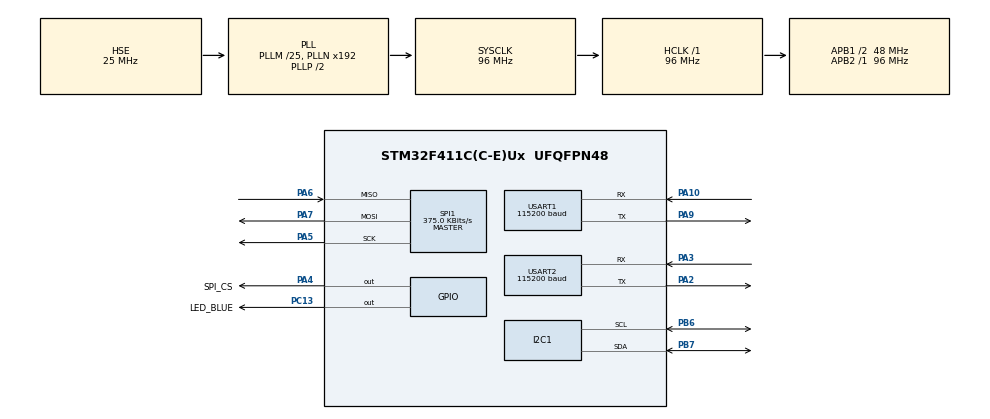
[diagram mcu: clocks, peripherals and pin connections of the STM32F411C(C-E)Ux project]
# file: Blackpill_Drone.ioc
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Dma.Request0=USART1_RX
Dma.Request1=USART2_TX
Dma.USART1_RX.0.Direction=DMA_PERIPH_TO_MEMORY
Dma.USART1_RX.0.FIFOMode=DMA_FIFOMODE_DISABLE
Dma.USART1_RX.0.Instance=DMA2_Stream2
Dma.USART1_RX.0.MemDataAlignment=DMA_MDATAALIGN_BYTE
Dma.USART1_RX.0.MemInc=DMA_MINC_ENABLE
Dma.USART1_RX.0.Mode=DMA_NORMAL
Dma.USART1_RX.0.PeriphDataAlignment=DMA_PDATAALIGN_BYTE
Dma.USART1_RX.0.PeriphInc=DMA_PINC_DISABLE
Dma.USART1_RX.0.Priority=DMA_PRIORITY_LOW
Dma.USART2_TX.1.Direction=DMA_MEMORY_TO_PERIPH
Dma.USART2_TX.1.FIFOMode=DMA_FIFOMODE_DISABLE
Dma.USART2_TX.1.Instance=DMA1_Stream6
Dma.USART2_TX.1.MemDataAlignment=DMA_MDATAALIGN_BYTE
Dma.USART2_TX.1.MemInc=DMA_MINC_ENABLE
Dma.USART2_TX.1.Mode=DMA_NORMAL
Dma.USART2_TX.1.PeriphDataAlignment=DMA_PDATAALIGN_BYTE
Dma.USART2_TX.1.PeriphInc=DMA_PINC_DISABLE
Dma.USART2_TX.1.Priority=DMA_PRIORITY_LOW
FATFS._MAX_SS=4096
FATFS._USE_LFN=1
I2C1.I2C_Mode=I2C_Fast
I2C1.OwnAddress=0
Mcu.Family=STM32F4
Mcu.Name=STM32F411C(C-E)Ux
Mcu.Package=UFQFPN48
NVIC.DMA1_Stream6_IRQn=true\:0\:0\:false\:false\:true\:false\:true\:true
NVIC.DMA2_Stream2_IRQn=true\:0\:0\:false\:false\:true\:false\:true\:true
NVIC.I2C1_ER_IRQn=true\:0\:0\:false\:false\:true\:true\:true\:true
NVIC.I2C1_EV_IRQn=true\:0\:0\:false\:false\:true\:true\:true\:true
NVIC.PriorityGroup=NVIC_PRIORITYGROUP_4
NVIC.TIM3_IRQn=true\:0\:0\:false\:false\:true\:true\:true\:true
PA10.Mode=Asynchronous
PA10.Signal=USART1_RX
PA13.Mode=Trace_Asynchronous_SW
PA13.Signal=SYS_JTMS-SWDIO
PA14.Mode=Trace_Asynchronous_SW
PA14.Signal=SYS_JTCK-SWCLK
PA2.Mode=Asynchronous
PA2.Signal=USART2_TX
PA3.Mode=Asynchronous
PA3.Signal=USART2_RX
PA4.GPIO_Label=SPI_CS
PA4.GPIO_PuPd=GPIO_PULLUP
PA4.GPIO_Speed=GPIO_SPEED_FREQ_HIGH
PA4.PinState=GPIO_PIN_SET
PA4.Signal=GPIO_Output
PA5.Mode=Full_Duplex_Master
PA5.Signal=SPI1_SCK
PA6.Mode=Full_Duplex_Master
PA6.Signal=SPI1_MISO
PA7.Mode=Full_Duplex_Master
PA7.Signal=SPI1_MOSI
PA9.Mode=Asynchronous
PA9.Signal=USART1_TX
PB3.Mode=Trace_Asynchronous_SW
PB3.Signal=SYS_JTDO-SWO
PB6.Mode=I2C
PB6.Signal=I2C1_SCL
PB7.Mode=I2C
PB7.Signal=I2C1_SDA
PC13-ANTI_TAMP.GPIO_Label=LED_BLUE
PC13-ANTI_TAMP.Signal=GPIO_Output
PH0\ -\ OSC_IN.Mode=HSE-External-Oscillator
PH0\ -\ OSC_IN.Signal=RCC_OSC_IN
PH1\ -\ OSC_OUT.Mode=HSE-External-Oscillator
PH1\ -\ OSC_OUT.Signal=RCC_OSC_OUT
ProjectManager.HeapSize=0x200
ProjectManager.StackSize=0x400
ProjectManager.TargetToolchain=STM32CubeIDE
RCC.48MHZClocksFreq_Value=48000000
RCC.AHBFreq_Value=96000000
RCC.APB1CLKDivider=RCC_HCLK_DIV2
RCC.APB1Freq_Value=48000000
RCC.APB1TimFreq_Value=96000000
RCC.APB2Freq_Value=96000000
RCC.APB2TimFreq_Value=96000000
RCC.CortexFreq_Value=96000000
RCC.HCLKFreq_Value=96000000
RCC.HSE_VALUE=25000000
RCC.HSI_VALUE=16000000
RCC.LSE_VALUE=32768
RCC.PLLM=25
RCC.PLLSourceVirtual=RCC_PLLSOURCE_HSE
RCC.SYSCLKFreq_VALUE=96000000
RCC.SYSCLKSource=RCC_SYSCLKSOURCE_PLLCLK
RCC.VCOOutputFreq_Value=192000000
SPI1.BaudRatePrescaler=SPI_BAUDRATEPRESCALER_256
SPI1.CalculateBaudRate=375.0 KBits/s
SPI1.Direction=SPI_DIRECTION_2LINES
SPI1.Mode=SPI_MODE_MASTER
SPI1.VirtualType=VM_MASTER
TIM3.Period=89
TIM3.Prescaler=8399
USART1.BaudRate=115200
USART1.Mode=MODE_RX
USART1.VirtualMode=VM_ASYNC
USART1.WordLength=WORDLENGTH_8B
USART2.BaudRate=115200
USART2.Mode=MODE_TX
USART2.VirtualMode=VM_ASYNC
VP_FATFS_VS_Generic.Mode=User_defined
VP_TIM3_VS_ClockSourceINT.Mode=Internal
board=custom

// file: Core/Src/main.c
/* USER CODE BEGIN Header */
/**
  ******************************************************************************
  * @file           : main.c
  * @brief          : Main program body
  ******************************************************************************
  * @attention
  *
  * Copyright (c) 2026 STMicroelectronics.
  * All rights reserved.
  *
  * This software is licensed under terms that can be found in the LICENSE file
  * in the root directory of this software component.
  * If no LICENSE file comes with this software, it is provided AS-IS.
  *
  ******************************************************************************
  */
/* USER CODE END Header */
#include "main.h"
#include "dma.h"
#include "fatfs.h"
#include "i2c.h"
#include "spi.h"
#include "tim.h"
#include "usart.h"
#include "gpio.h"

/* USER CODE BEGIN Includes */
#include "VL53L1X_api.h"
#include "Ibus.h"
#include <stdio.h>
#include <string.h>
/* USER CODE END Includes */

/* USER CODE BEGIN PV */

/*Sensor*/
uint8_t sense_booted = 0;
uint8_t dataReady = 0;
uint16_t distance_mm;
VL53L1X_ERROR status=1;

#define sensor_adress 0x52 // 0x29 << 1
uint16_t sensorId = 0;
uint16_t distance;

//kod do RXTX
static uint8_t tx_busy = 0;
volatile uint8_t ibus_tx_ready = 1;

//Regulator
uint32_t elapsed_ms = 0;
int32_t descent_mm = 0;
uint8_t  autoland_active = 0;
uint16_t hover_start = 1500;   // captured hover throttle
uint32_t autoland_start_time = 0;
uint16_t autoland_start_alt_mm = 0;
uint16_t desired_alt_mm = 0;
float Kp_alt = 1.f;   // proportional gain (safe starting value)
float ch5_norm = 0.f;
static uint8_t prev_autoland_switch = 0;
int32_t target = 0;
uint8_t autoland_switch = 0;
int32_t error_mm = 0;
int32_t throttle_cmd = 0;

//SD
FATFS SDFatFs;
FIL logFile;
UINT bytesWritten;
char logBuf[64];
uint8_t sd_ready = 0;
static uint32_t last_sync = 0;
FRESULT res;
static uint8_t log_div = 0;
int sd_len = 0;

/* USER CODE END PV */

void SystemClock_Config(void);

int main(void)
{

  /* MCU Configuration--------------------------------------------------------*/

  /* Reset of all peripherals, Initializes the Flash interface and the Systick. */
  HAL_Init();

  /* Configure the system clock */
  SystemClock_Config();

  /* Initialize all configured peripherals */
  MX_GPIO_Init();
  MX_DMA_Init();
  MX_I2C1_Init();
  MX_USART1_UART_Init();
  MX_TIM3_Init();
  MX_USART2_UART_Init();
  MX_SPI1_Init();
  MX_FATFS_Init();
  /* USER CODE BEGIN 2 */
  // Debug Blink
  HAL_GPIO_WritePin(LED_BLUE_GPIO_Port, LED_BLUE_Pin, GPIO_PIN_SET);
  HAL_Delay(2000);
  HAL_GPIO_WritePin(LED_BLUE_GPIO_Port, LED_BLUE_Pin, GPIO_PIN_RESET);
  HAL_Delay(2000);
  HAL_GPIO_WritePin(LED_BLUE_GPIO_Port, LED_BLUE_Pin, GPIO_PIN_SET);
  HAL_Delay(2000);
  HAL_GPIO_WritePin(LED_BLUE_GPIO_Port, LED_BLUE_Pin, GPIO_PIN_RESET);

  if (f_mount(&SDFatFs, "", 1) == FR_OK)
  {
      if (f_open(&logFile, "log.csv", FA_OPEN_ALWAYS | FA_WRITE) == FR_OK)
      {
          f_lseek(&logFile, f_size(&logFile)); // append
          sd_ready = 1;
      }
  }
  if (sd_ready && f_size(&logFile) == 0)
  {
      strcpy(logBuf, "time_ms,distance_mm\r\n");
      sd_len = strlen(logBuf);
      res = f_write(&logFile, logBuf, sd_len, &bytesWritten);
      if (res != FR_OK || bytesWritten != sd_len)
      {
          sd_ready = 0; // disable logging safely
      }
  }
  /* Kod do RX*/
  HAL_TIM_Base_Start_IT(&htim3);
  HAL_UARTEx_ReceiveToIdle_DMA(&huart1, (uint8_t*)ibus_rx_buf, IBUS_FRAME_LEN);

  /* Kod do sensora */
    while (sense_booted == 0) //Czekaj aż skończy się bootowanie sensora
    {
        status = VL53L1X_BootState(sensor_adress, &sense_booted);
        if (status != 0) {
            // Communication error - stay in loop or signal error
            HAL_GPIO_TogglePin(LED_BLUE_GPIO_Port, LED_BLUE_Pin);
            HAL_Delay(100);
            continue;
        }
        HAL_Delay(2);
    }

    if (sense_booted) {
        status = VL53L1X_SensorInit(sensor_adress);
        status |= VL53L1X_GetSensorId(sensor_adress, &sensorId); // Powinno być 0xEEAC

        status |= VL53L1X_SetDistanceMode(sensor_adress, 2);      // 1 = Short, 2 = Long
        status |= VL53L1X_SetTimingBudgetInMs(sensor_adress, 200); // 15–500 ms
        status |= VL53L1X_SetInterMeasurementInMs(sensor_adress, 400);
        status |= VL53L1X_StartRanging(sensor_adress); //Zacznij mierzyc
    }
  /* USER CODE END 2 */

  /* Infinite loop */
  while (1)
  {

    /* USER CODE BEGIN 3 */
    // 1. Process new RX frame if available
    if (ibus_rx_ready)
    {
        ibus_rx_ready = 0;
        // Data is now in ibus_ch_rx
    }

    for (int i = 0; i < IBUS_CHANNELS; i++)
            {
                ibus_ch_tx[i] = ibus_ch_rx[i];
            }

    autoland_switch = (ibus_ch_rx[6] > 1800);

    // Clamp for safety
    if (ibus_ch_rx[4] < 1000) ibus_ch_rx[4] = 1000;
    if (ibus_ch_rx[4] > 2000) ibus_ch_rx[4] = 2000;

    // Normalize to 0.0–1.0
    ch5_norm = (ibus_ch_rx[4] - 1000.0f) / 1000.0f;

    // Map to Kp range 0.5–1.5
    Kp_alt = 0.5f + ch5_norm* 1.0f;

    // 2. Decide between Passthrough and Auto Control

    // Rising edge: OFF → ON
    if (autoland_switch && !prev_autoland_switch)
    {
        autoland_active = 1;

        // Capture hover throttle at activation moment
        hover_start = ibus_ch_rx[2];   // throttle channel
        autoland_start_time=HAL_GetTick();
        autoland_start_alt_mm=distance_mm;
        elapsed_ms=0;
    }

    // Falling edge: ON → OFF
    if (!autoland_switch && prev_autoland_switch)
    {
        autoland_active = 0;
    }

    prev_autoland_switch = autoland_switch;

    if (autoland_active)
    {
        elapsed_ms = HAL_GetTick() - autoland_start_time;

        descent_mm = (elapsed_ms * 100) / 1000; // 100 mm/s
        target = autoland_start_alt_mm - descent_mm;

        if (target < 300)
            target = 300;

        desired_alt_mm = (uint16_t)target;

        error_mm = (int32_t)desired_alt_mm - (int32_t)distance_mm;

        // Proportional control
        throttle_cmd = hover_start + (int32_t)(Kp_alt * error_mm);

        // Safety limits
        if (throttle_cmd > 1800) throttle_cmd = 1800;
        if (throttle_cmd < 1100) throttle_cmd = 1100;

        ibus_ch_tx[2] = throttle_cmd;
    }
    else
    {
        // Normal passthrough
        ibus_ch_tx[2] = ibus_ch_rx[2];
    }

    // 3. Build & send every 7ms
    static uint32_t last_tx_time = 0;
    uint32_t now = HAL_GetTick();

    if (now - last_tx_time >= 7)
    {
        // 4. Debug: Toggle LED to show we are trying to send
        HAL_GPIO_TogglePin(LED_BLUE_GPIO_Port, LED_BLUE_Pin);

        ibus_build();

        // Use standard Transmit (polling) for now to be 100% sure it works.
        // 32 bytes at 115200 takes 2.7ms, which is fine in a 7ms window.
        if (HAL_UART_Transmit(&huart2, (uint8_t*)ibus_frame, IBUS_FRAME_LEN, 10) == HAL_OK)
        {
            last_tx_time = now;
        }

        // Clear any UART errors that might have locked the peripheral (Overrun, etc)
        __HAL_UART_CLEAR_OREFLAG(&huart1);
        __HAL_UART_CLEAR_OREFLAG(&huart2);
    }

    VL53L1X_CheckForDataReady(sensor_adress, &dataReady);
    if (dataReady != 0)
    {
        dataReady = 0;
        VL53L1X_GetRangeStatus(sensor_adress, &status);
        if(status==0)
        {
            VL53L1X_GetDistance(sensor_adress, &distance_mm);
            VL53L1X_ClearInterrupt(sensor_adress);
            if (sd_ready)
            {
            	if (++log_div < 5)
            	    goto skip_log;
            	log_div = 0;

            	sd_len = snprintf(logBuf, sizeof(logBuf),
            	                   "%lu,%u\r\n",
            	                   HAL_GetTick(),
            	                   distance_mm);

            	res = f_write(&logFile, logBuf, sd_len, &bytesWritten);
            	if (res != FR_OK || bytesWritten != sd_len)
            	{
            	    sd_ready = 0;
            	}

            	if (HAL_GetTick() - last_sync > 1000)
            	{
            	    f_sync(&logFile);
            	    last_sync = HAL_GetTick();
            	}

            	skip_log:;
            }
        }
    }

  }
  /* USER CODE END 3 */
}

void SystemClock_Config(void)
{
  RCC_OscInitTypeDef RCC_OscInitStruct = {0};
  RCC_ClkInitTypeDef RCC_ClkInitStruct = {0};

  /** Configure the main internal regulator output voltage
  */
  __HAL_RCC_PWR_CLK_ENABLE();
  __HAL_PWR_VOLTAGESCALING_CONFIG(PWR_REGULATOR_VOLTAGE_SCALE1);

  /** Initializes the RCC Oscillators according to the specified parameters
  * in the RCC_OscInitTypeDef structure.
  */
  RCC_OscInitStruct.OscillatorType = RCC_OSCILLATORTYPE_HSE;
  RCC_OscInitStruct.HSEState = RCC_HSE_ON;
  RCC_OscInitStruct.PLL.PLLState = RCC_PLL_ON;
  RCC_OscInitStruct.PLL.PLLSource = RCC_PLLSOURCE_HSE;
  RCC_OscInitStruct.PLL.PLLM = 25;
  RCC_OscInitStruct.PLL.PLLN = 192;
  RCC_OscInitStruct.PLL.PLLP = RCC_PLLP_DIV2;
  RCC_OscInitStruct.PLL.PLLQ = 4;
  if (HAL_RCC_OscConfig(&RCC_OscInitStruct) != HAL_OK)
  {
    Error_Handler();
  }

  /** Initializes the CPU, AHB and APB buses clocks
  */
  RCC_ClkInitStruct.ClockType = RCC_CLOCKTYPE_HCLK|RCC_CLOCKTYPE_SYSCLK
                              |RCC_CLOCKTYPE_PCLK1|RCC_CLOCKTYPE_PCLK2;
  RCC_ClkInitStruct.SYSCLKSource = RCC_SYSCLKSOURCE_PLLCLK;
  RCC_ClkInitStruct.AHBCLKDivider = RCC_SYSCLK_DIV1;
  RCC_ClkInitStruct.APB1CLKDivider = RCC_HCLK_DIV2;
  RCC_ClkInitStruct.APB2CLKDivider = RCC_HCLK_DIV1;

  if (HAL_RCC_ClockConfig(&RCC_ClkInitStruct, FLASH_LATENCY_3) != HAL_OK)
  {
    Error_Handler();
  }
}

/* USER CODE BEGIN 4 */

//komemtarz

/* Kod do RX*/
//void HAL_TIM_PeriodElapsedCallback(TIM_HandleTypeDef *htim)
//{
//    if (htim->Instance == TIM3)
//    {
//        HAL_GPIO_TogglePin(LED_BLUE_GPIO_Port, LED_BLUE_Pin);
//
//        //ibus_test();
//        if(ibus_rx_ready)
//        {
//        	ibus_rx_ready=0;
//        	if (ibus_ch[4] > 1500)
//        	            {
//        	                // TEST MODE
//        	                ibus_test();
//        	            }
//        }
//        ibus_build();
//
//        if (!tx_busy)
//        {
//            tx_busy = 1;
//            HAL_UART_Transmit_DMA(&huart2, ibus_frame, IBUS_FRAME_LEN);
//        }
//    }
//}

void HAL_UARTEx_RxEventCallback(UART_HandleTypeDef *huart, uint16_t Size)
{
    if (huart->Instance == USART1)
    {
        // iBUS frames are always 32 bytes and start with 0x20 0x40
        if (Size == IBUS_FRAME_LEN && ibus_rx_buf[0] == 0x20 && ibus_rx_buf[1] == 0x40)
        {
            ibus_decode((uint8_t*)ibus_rx_buf, (uint16_t*)ibus_ch_rx);
            ibus_rx_ready = 1;
        }

        // Restart reception to idle
        HAL_UARTEx_ReceiveToIdle_DMA(&huart1, (uint8_t*)ibus_rx_buf, IBUS_FRAME_LEN);
    }
}

void HAL_UART_TxCpltCallback(UART_HandleTypeDef *huart)
{
	if (huart->Instance == USART2)
	        ibus_tx_ready = 1;
}

void ibus_test(void);
void ibus_decode(const uint8_t *b, uint16_t *ch);
void ibus_build(void);

/* USER CODE END 4 */

void Error_Handler(void)
{
  /* USER CODE BEGIN Error_Handler_Debug */
	if (sd_ready)
	{
	    f_sync(&logFile);
	    f_close(&logFile);
	    f_mount(NULL, "", 0);
	}
  /* User can add his own implementation to report the HAL error return state */
  __disable_irq();
  while (1)
  {

  }
  /* USER CODE END Error_Handler_Debug */
}
